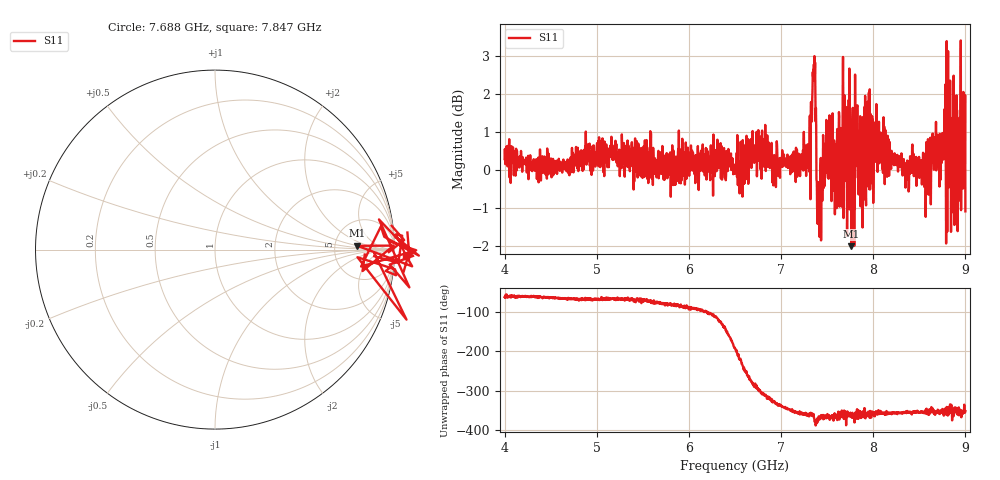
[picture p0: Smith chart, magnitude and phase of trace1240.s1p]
! Created with skrf 1.8.0 (http://scikit-rf.org).
# Hz S RI R 50.0
!freq ReS11 ImS11
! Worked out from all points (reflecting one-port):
!   1601 points, 4 GHz to 9 GHz, reference 50 ohm
!   lowest |S11| = -2.0 dB at 7.762 GHz (marker M1), VSWR 8.71, Z = 430 + j48.9 ohm
!   phase of S11 starts at -63 deg and turns -289 deg over the sweep
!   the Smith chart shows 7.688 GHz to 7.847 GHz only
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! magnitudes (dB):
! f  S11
! 4 GHz  0.3
! 4.625 GHz  -0.1
! 5.25 GHz  -0.2
! 5.875 GHz  0.1
! 6.5 GHz  -0.1
! 6.806 GHz  0.4
! 6.925 GHz  0.4
! 7.125 GHz  0.2
! 7.294 GHz  0.2
! 7.347 GHz  2.5
! 7.366 GHz  2.4
! 7.409 GHz  -0.8
! 7.509 GHz  -0.2
! 7.578 GHz  0.4
! 7.65 GHz  1.0
! 7.75 GHz  0.4
! 7.762 GHz  -2.0
! 7.775 GHz  1.3
! 7.828 GHz  1.7
! 7.909 GHz  0.4
! 7.962 GHz  2.1
! 7.981 GHz  -0.3
! 8.375 GHz  -0.1
! 8.584 GHz  0.6
! 8.809 GHz  1.2
! 8.869 GHz  -0.3
! 8.972 GHz  0.7
! 9 GHz  -1.1
